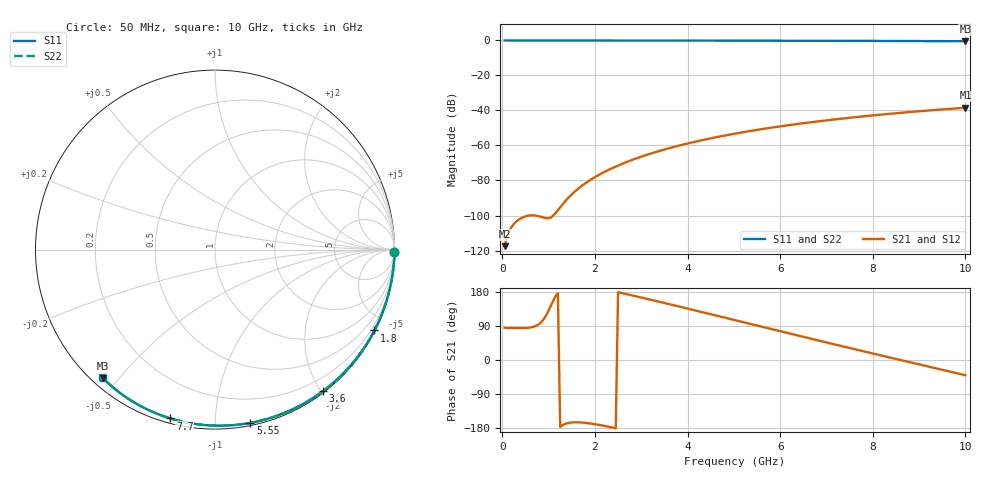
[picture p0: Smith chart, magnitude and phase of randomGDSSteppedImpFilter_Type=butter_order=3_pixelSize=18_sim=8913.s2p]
! freq	dB(S11)	phase(S11)	dB(S12)	phase(S12)
!  dB(S21)	phase(S21)	dB(S22)	phase(S22)
!S-par simulation data
#  GHz  S  DB  R 50
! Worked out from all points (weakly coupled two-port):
!   200 points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, 50 MHz to 10 GHz, reference 50 ohm
!   highest |S21| = -38.43 dB at 10 GHz (marker M1); lowest = -117.5 dB at 50 MHz (marker M2)
!   lowest |S11| = -0.4 dB at 10 GHz (marker M3), VSWR 39.10, Z = 1.54 - j22.7 ohm
!   |S11| at or under -10 dB: nowhere
!   |S22| runs from -0.4 to 0.0 dB; largest |S21 - S12| = 0
!   S11 on the Smith chart (normalised r, x): 50 MHz: open; 1.8 GHz: 0.04, -4.19; 3.6 GHz: 0.02, -2.03; 5.55 GHz: 0.02, -1.22; 7.7 GHz: 0.02, -0.77; 10 GHz: 0.03, -0.45
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0.05  -0.00 -0.8  -117.52 85.5  -117.52 85.5  -0.00 -0.8
0.9  -0.02 -13.6  -101.31 108.9  -101.31 108.9  -0.02 -13.6
1.75  -0.03 -26.1  -82.42 -165.4  -82.42 -165.4  -0.03 -26.2
1.8  -0.03 -26.9  -81.47 -166.0  -81.47 -166.0  -0.03 -27.0
1.85  -0.04 -27.6  -80.58 -166.7  -80.58 -166.7  -0.04 -27.7
1.9  -0.04 -28.3  -79.72 -167.5  -79.72 -167.5  -0.04 -28.4
2.05  -0.04 -30.5  -77.33 -170.4  -77.33 -170.4  -0.04 -30.6
2.25  -0.04 -33.4  -74.51 -175.0  -74.51 -175.0  -0.04 -33.5
2.45  -0.05 -36.3  -72.03 -180.0  -72.03 -180.0  -0.05 -36.4
2.65  -0.05 -39.2  -69.80 174.7  -69.80 174.7  -0.05 -39.3
3  -0.06 -44.2  -66.38 164.9  -66.38 164.9  -0.06 -44.3
3.4  -0.07 -49.8  -63.04 153.4  -63.04 153.4  -0.07 -49.9
3.6  -0.07 -52.6  -61.55 147.5  -61.55 147.5  -0.07 -52.7
4.3  -0.09 -62.1  -57.03 126.7  -57.03 126.7  -0.09 -62.3
5.05  -0.11 -72.0  -53.11 104.3  -53.11 104.3  -0.11 -72.3
5.55  -0.13 -78.5  -50.87 89.3  -50.87 89.3  -0.13 -78.8
6.1  -0.15 -85.4  -48.70 72.9  -48.70 72.9  -0.15 -85.7
6.7  -0.18 -92.8  -46.60 55.1  -46.60 55.1  -0.18 -93.2
7.7  -0.24 -104.8  -43.61 25.8  -43.61 25.8  -0.24 -105.2
8.35  -0.29 -112.4  -41.94 7.0  -41.94 7.0  -0.29 -112.8
9.15  -0.36 -121.5  -40.12 -15.9  -40.12 -15.9  -0.36 -121.9
10  -0.44 -131.1  -38.43 -40.1  -38.43 -40.1  -0.44 -131.6
